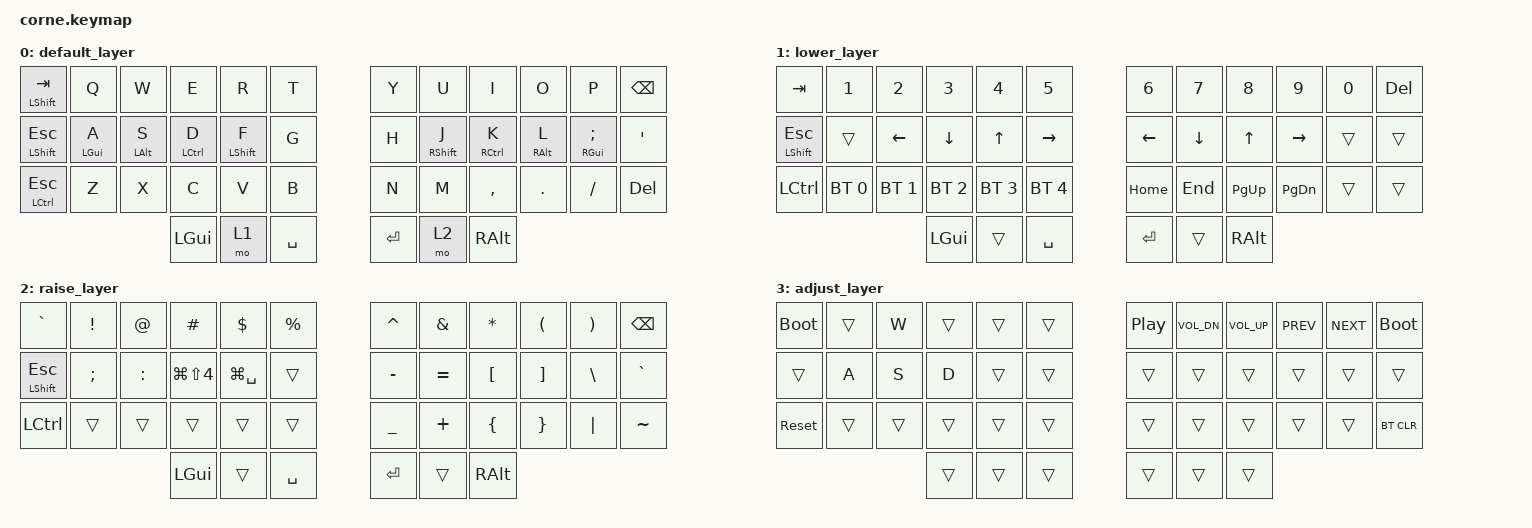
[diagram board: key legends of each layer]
/*
 * Copyright (c) 2020 The ZMK Contributors
 *
 * SPDX-License-Identifier: MIT
 */

#include <behaviors.dtsi>
#include <dt-bindings/zmk/keys.h>
#include <dt-bindings/zmk/bt.h>
#include <dt-bindings/zmk/rgb.h>
#include <dt-bindings/zmk/backlight.h>


/ {

        behaviors {
                hml: homerow_mods_left {
                        compatible = "zmk,behavior-hold-tap";
                        label = "HOMEROW_MODS_LEFT";
                        #binding-cells = <2>;
                        bindings = <&kp>, <&kp>;
                        flavor = "balanced";
                        tapping-term-ms = <280>;
                        quick-tap-ms = <175>;
                        require-prior-idle-ms = <150>;
                        hold-trigger-key-positions = <6 7 8 9 10 11 18 19 20 21 22 23 30 31 32 33 34 35 39 40 41>;
                };

                hmr: homerow_mods_right {
                        compatible = "zmk,behavior-hold-tap";
                        label = "HOMEROW_MODS_RIGHT";
                        #binding-cells = <2>;
                        bindings = <&kp>, <&kp>;
                        flavor = "balanced";
                        tapping-term-ms = <280>;
                        quick-tap-ms = <175>;
                        require-prior-idle-ms = <150>;
                        hold-trigger-key-positions = <0 1 2 3 4 5 12 13 14 15 16 17 24 25 26 27 28 29 36 37 38>;
                };
        };

        combos {
                compatible = "zmk,combos";

                combo_caps_word {
                        timeout-ms = <50>;
                        key-positions = <16 19>;
                        bindings = <&caps_word>;
                        layers = <0>;
                };
        };

        conditional_layers {
                compatible = "zmk,conditional-layers";

                tri_layer {
                        if-layers = <1 2>;
                        then-layer = <3>;
                };
        };

        keymap {
                compatible = "zmk,keymap";

                default_layer {
// -----------------------------------------------------------------------------------------
// |  TAB/SHFT |  Q  |  W  |  E  |  R  |  T  |   |  Y  |  U   |  I  |  O  |  P  | BKSP |
// | ESC/SHFT | A/GUI | S/ALT | D/CTRL | F/SHFT |  G  |   |  H  | J/SHFT | K/CTRL | L/ALT | ;/GUI |  '   |
// | CTRL |  Z  |  X  |  C  |  V  |  B  |   |  N  |  M   |  ,  |  .  |  /  | DEL  |
//                    | GUI | LWR | SPC |   | ENT | RSE  | ALT |
// Combo: F + J (home indices) => Caps Word (default layer only)
// Hold LWR + RSE together => ADJUST layer (bootloader/reset/BT clear, WASD, media, see below)
                        bindings = <
   &mt LSHFT TAB &kp Q &kp W &kp E &kp R &kp T   &kp Y &kp U  &kp I     &kp O   &kp P    &kp BSPC
   &mt LSHFT ESC &hml LGUI A &hml LALT S &hml LCTRL D &hml LSHFT F &kp G   &kp H &hmr RSHFT J &hmr RCTRL K &hmr RALT L &hmr RGUI SEMI &kp SQT
   &mt LCTRL ESC &kp Z &kp X &kp C &kp V &kp B   &kp N &kp M  &kp COMMA &kp DOT &kp FSLH &kp DEL
                  &kp LGUI &mo 1 &kp SPACE   &kp RET &mo 2 &kp RALT
                        >;
                };
                lower_layer {
// -----------------------------------------------------------------------------------------
// |   TAB    |  1  |  2  |  3  |  4  |  5  |   |  6   |  7  |  8    |  9    |  0  | DEL |
// | ESC/SHFT |     | LFT | DWN |  UP | RGT |   | LFT  | DWN |  UP   | RGT   |     |     |
// |   CTRL   | BT0 | BT1 | BT2 | BT3 | BT4 |   | HOME | END | PG_UP | PG_DN |     |     |
//                        | GUI |     | SPC |   | ENT  |     |  ALT  |
// NOTE: thumb-row &trans at LWR/RSE positions must stay transparent — they're what let
// holding LWR+RSE together fall through to ADJUST layer (see conditional_layers above).
                        bindings = <
   &kp TAB    &kp N1       &kp N2       &kp N3       &kp N4       &kp N5         &kp N6   &kp N7   &kp N8 &kp N9    &kp N0 &kp DEL
   &mt LSHFT ESC &trans    &kp LEFT     &kp DOWN     &kp UP       &kp RIGHT      &kp LEFT &kp DOWN &kp UP &kp RIGHT &trans &trans
   &kp LCTRL  &bt BT_SEL 0 &bt BT_SEL 1 &bt BT_SEL 2 &bt BT_SEL 3 &bt BT_SEL 4   &kp HOME &kp END  &kp PG_UP &kp PG_DN &trans &trans
                                    &kp LGUI     &trans       &kp SPACE      &kp RET  &trans   &kp RALT
                        >;
                };

                raise_layer {
// -----------------------------------------------------------------------------------------
// |    `     |  !  |  @  |  #  |  $  |  %  |   |  ^  |  &  |  *  |  (  |  )  | BKSP |
// | ESC/SHFT |  ;  |  :  |SCRN |SPTL |     |   |  -  |  =  |  [  |  ]  |  \  |  `   |
// |   CTRL   |     |     |     |     |     |   |  _  |  +  |  {  |  }  | "|" |  ~   |
//                        | GUI |     | SPC |   | ENT |     | ALT |
// SCRN = Cmd+Shift+4 (macOS screenshot), SPTL = Cmd+Space (Spotlight) — both as a single
// keypress, since Cmd (LGUI), the number layer (LWR), and Space are ALL left-thumb-only
// keys and can't be held together with one thumb.
                        bindings = <
   &kp  GRAVE  &kp EXCL &kp AT &kp HASH &kp DLLR &kp PRCNT   &kp CARET &kp AMPS  &kp ASTRK &kp LPAR &kp RPAR &kp BSPC
   &mt LSHFT ESC &kp SEMI &kp COLON &kp LG(LS(N4)) &kp LG(SPACE) &trans      &kp MINUS &kp EQUAL &kp LBKT  &kp RBKT &kp BSLH &kp GRAVE
   &kp LCTRL &trans   &trans &trans   &trans   &trans      &kp UNDER &kp PLUS  &kp LBRC  &kp RBRC &kp PIPE &kp TILDE
                             &kp LGUI &trans   &kp SPACE   &kp RET   &trans    &kp RALT
                        >;
                };

                adjust_layer {
// -----------------------------------------------------------------------------------------
// | BOOT|     |  W  |     |     |     |   | PLAY| VOL-| VOL+| PREV| NEXT| BOOT |
// |     |  A  |  S  |  D  |     |     |   |     |     |     |     |     |      |
// |RESET|     |     |     |     |     |   |     |     |     |     |     |BTCLR |
//                    |     |     |     |   |     |     |     |
// Active only while LWR (mo 1) + RSE (mo 2) are both held.
                        bindings = <
   &bootloader &trans &kp W &trans &trans &trans   &kp C_PP &kp C_VOL_DN &kp C_VOL_UP &kp C_PREV &kp C_NEXT &bootloader
   &trans      &kp A &kp S &kp D &trans &trans   &trans &trans &trans &trans &trans &trans
   &sys_reset  &trans &trans &trans &trans &trans   &trans &trans &trans &trans &trans &bt BT_CLR
                             &trans &trans &trans   &trans &trans &trans
                        >;
                };
        };
};
